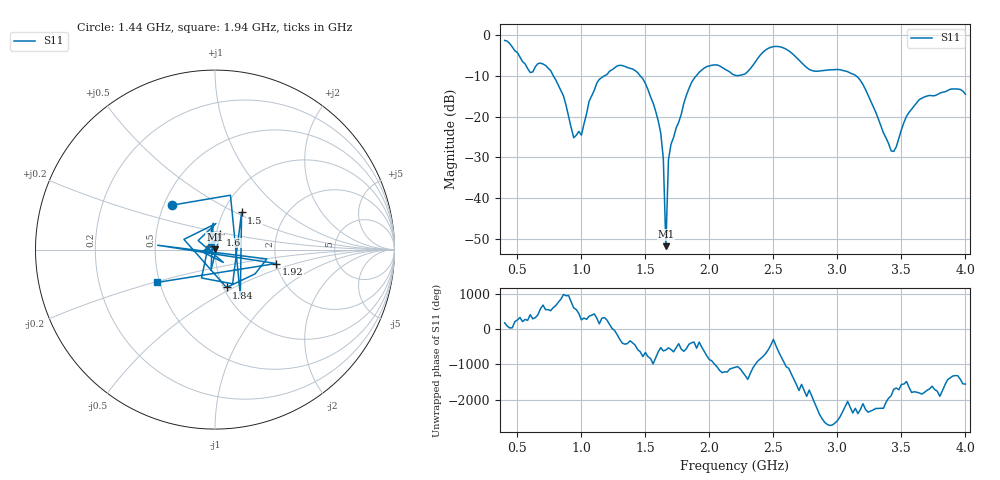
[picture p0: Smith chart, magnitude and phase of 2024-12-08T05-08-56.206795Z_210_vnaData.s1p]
!Created with skrf (http://scikit-rf.org).
# Hz S RI R 50.0
!freq ReS11 ImS11
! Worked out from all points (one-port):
!   181 points, 400 MHz to 4 GHz, reference 50 ohm
!   lowest |S11| = -51.8 dB at 1.66 GHz (marker M1), VSWR 1.01, Z = 49.9 + j0.209 ohm
!   |S11| at or under -10 dB: 781 MHz to 1.178 GHz (397.4 MHz wide, 40.6 % of centre); 1.459 GHz to 1.897 GHz (437.9 MHz wide, 26.1 % of centre); 3.146 GHz to end of sweep
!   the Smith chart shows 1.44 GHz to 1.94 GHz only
!   S11 on the Smith chart (normalised r, x): 1.44 GHz: 0.55, +0.31; 1.5 GHz: 1.22, +0.54; 1.6 GHz: 1.04, +0.18; 1.84 GHz: 1.03, -0.46; 1.92 GHz: 1.99, -0.35; 1.94 GHz: 0.48, -0.21
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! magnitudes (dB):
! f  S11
! 400 MHz  -1.3
! 600 MHz  -9.2
! 720 MHz  -7.5
! 860 MHz  -14.9
! 940 MHz  -25.2
! 1 GHz  -24.6
! 1.12 GHz  -11.8
! 1.3 GHz  -7.4
! 1.44 GHz  -9.2
! 1.5 GHz  -11.9
! 1.6 GHz  -21.0
! 1.64 GHz  -30.3
! 1.66 GHz  -51.8
! 1.68 GHz  -30.6
! 1.76 GHz  -21.4
! 1.84 GHz  -13.1
! 1.92 GHz  -9.1
! 1.94 GHz  -8.6
! 2.2 GHz  -9.9
! 2.48 GHz  -3.0
! 2.66 GHz  -4.9
! 2.8 GHz  -8.7
! 3.1 GHz  -9.3
! 3.2 GHz  -12.2
! 3.42 GHz  -28.4
! 3.56 GHz  -19.0
! 3.7 GHz  -15.0
! 4 GHz  -14.5
